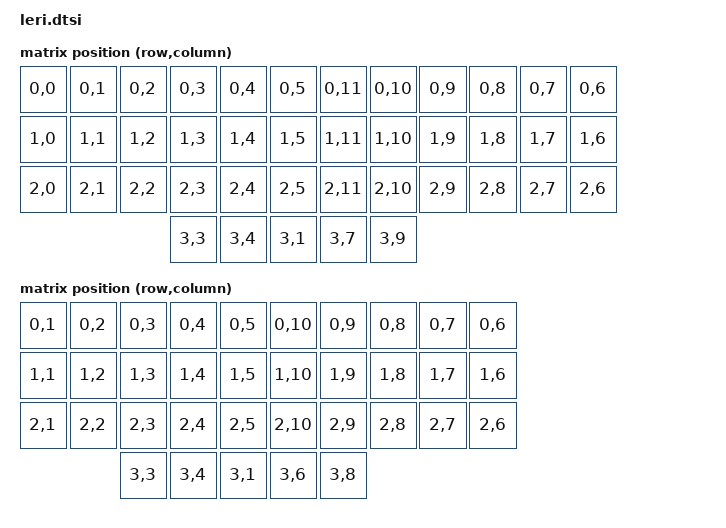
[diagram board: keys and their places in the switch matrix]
#include <dt-bindings/zmk/matrix_transform.h>

#define INPUT_EV_KEY 0x01               /**< Key event */
#define INPUT_EV_REL 0x02               /**< Relative coordinate event */
#define INPUT_EV_ABS 0x03               /**< Absolute coordinate event */
#define INPUT_EV_MSC 0x04               /**< Miscellaneous event */
#define INPUT_EV_VENDOR_START 0xf0      /**< Vendor specific event start */
#define INPUT_EV_VENDOR_STOP 0xff       /**< Vendor specific event stop */

#define INPUT_REL_X 0x00                /**< Relative X coordinate */
#define INPUT_REL_Y 0x01                /**< Relative Y coordinate */
#define INPUT_REL_WHEEL 0x08            /**< Relative wheel coordinate */
#define INPUT_REL_HWHEEL 0x06           /**< Relative horizontal wheel coordinate */
#define INPUT_REL_MISC 0x09             /**< Relative misc coordinate */

/ {
    chosen {
        zmk,kscan = &kscan0;
        zmk,matrix_transform = &default_transform;
    };

    default_transform: keymap_transform_0 {
        compatible = "zmk,matrix-transform";
        columns = <12>;
        rows = <4>;

        map = <
	RC(0,0) RC(0,1) RC(0,2) RC(0,3) RC(0,4) RC(0,5)  RC(0,11) RC(0,10) RC(0,9) RC(0,8) RC(0,7) RC(0,6)
	RC(1,0) RC(1,1) RC(1,2) RC(1,3) RC(1,4) RC(1,5)  RC(1,11) RC(1,10) RC(1,9) RC(1,8) RC(1,7) RC(1,6)
	RC(2,0) RC(2,1) RC(2,2) RC(2,3) RC(2,4) RC(2,5)  RC(2,11) RC(2,10) RC(2,9) RC(2,8) RC(2,7) RC(2,6)
							RC(3,3) RC(3,4) RC(3,1)  RC(3,7)  RC(3,9)
        >;
    };

    five_column_transform: keymap_transform_1 {
        compatible = "zmk,matrix-transform";
        columns = <10>;
        rows = <4>;

        map = <
	RC(0,1) RC(0,2) RC(0,3) RC(0,4) RC(0,5)  RC(0,10) RC(0,9) RC(0,8) RC(0,7) RC(0,6)
	RC(1,1) RC(1,2) RC(1,3) RC(1,4) RC(1,5)  RC(1,10) RC(1,9) RC(1,8) RC(1,7) RC(1,6)
	RC(2,1) RC(2,2) RC(2,3) RC(2,4) RC(2,5)  RC(2,10) RC(2,9) RC(2,8) RC(2,7) RC(2,6)
					RC(3,3) RC(3,4) RC(3,1)  RC(3,6)  RC(3,8)
        >;
    };
	
    kscan0: kscan {
        compatible = "zmk,kscan-gpio-matrix";
        label = "KSCAN";

        diode-direction = "row2col";
    };
};

&pinctrl {
    spi0_default: spi0_default {
        group1 {
            psels = <NRF_PSEL(SPIM_SCK, 0, 8)>,
                <NRF_PSEL(SPIM_MOSI, 0, 17)>,
                <NRF_PSEL(SPIM_MISO, 0, 17)>;
        };
    };

    spi0_sleep: spi0_sleep {
        group1 {
            psels = <NRF_PSEL(SPIM_SCK, 0, 8)>,
                <NRF_PSEL(SPIM_MOSI, 0, 17)>,
                <NRF_PSEL(SPIM_MISO, 0, 17)>;
            low-power-enable;
        };
    };
};

&spi0 {
    status = "disabled";
    compatible = "nordic,nrf-spim";
    pinctrl-0 = <&spi0_default>;
    pinctrl-1 = <&spi0_sleep>;
    pinctrl-names = "default", "sleep";
    cs-gpios = <&gpio0 20 GPIO_ACTIVE_LOW>;

    pd0: pd@0 {
        status = "disabled";
        compatible = "pixart,pmw3610";
        reg = <0>;
        spi-max-frequency = <2000000>;
        irq-gpios = <&gpio0 6 (GPIO_ACTIVE_LOW | GPIO_PULL_UP)>;
        cpi = <2000>;
        evt-type = <INPUT_EV_REL>;
        x-input-code = <INPUT_REL_X>;
        y-input-code = <INPUT_REL_Y>;
    };
};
